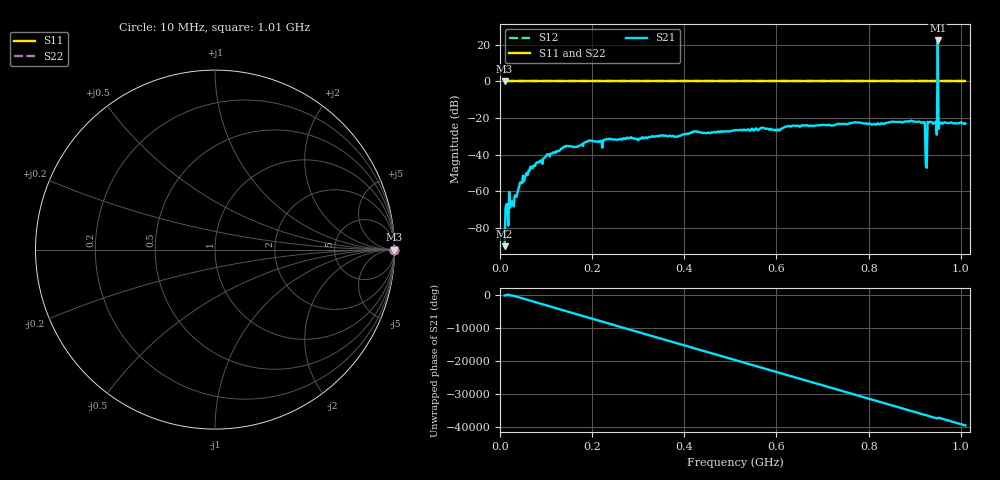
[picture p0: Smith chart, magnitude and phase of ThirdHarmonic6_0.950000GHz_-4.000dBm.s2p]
! 8/16/2025 6:50:54 AM
! C:\ANRITSUVNA\TEMP\TEMP.S2P
! CHANNEL.1
! TR.MEASUREMENT
! RAW.DATA
! RF.CORRECTION.OFF
! AVERAGING.OFF
! IF.BANDWIDTH: 5KHZ
! SWEEPTYPE:  FREQ.SWEEP(Linear)
! Reference Plane Port Info
! PORT:  PORT1  PORT2
! DISTANCE:  0  m  0  m
! TIME:  0  s  0  s
! PHASE.OFFSET:  0  deg.  0  deg.
! LOSS:  0  dB  0  dB
! REF.LOSS:  0  dB  0  dB
! REF.FREQ:  0  Hz  0  Hz
! Power Info
! POWER:  -20  dBm  -20  dBm
! EFF.POWER:  -20  dBm  -20  dBm
! SOURCE.ATTEN:  0  dB  0  dB
! TEST.ATTEN:  0  dB  0  dB
# GHZ S RI R 50.0
! FREQ.GHZ  S11RE  S11IM  S21RE  S21IM  S12RE  S12IM  S22RE  S22IM
!; PortSelection: Port_12
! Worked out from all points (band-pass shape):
!   501 points, 10 MHz to 1.01 GHz, reference 50 ohm
!   highest |S21| = 22.38 dB at 950 MHz (marker M1); lowest = -89.8 dB at 10 MHz (marker M2)
!   |S21| within 3 dB of the highest: 949.8833 MHz to 950.1243 MHz (240.9 kHz wide, 0.0254 % of centre)
!   lowest |S11| = 0.0 dB at 10 MHz (marker M3)
!   |S11| at or under -10 dB: nowhere
!   |S22| runs from 0.0 to 0.0 dB; largest |S21 - S12| = 13
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0.01  1 0  -3.17e-05 -5.7e-06  1 0  1 0
0.016  1 0  0.000199 -0.000405  1 0  1 0
0.024  1 0  -0.000256 -0.000421  1 0  1 0
0.026  1 0  -0.000389 -0.000382  1 0  1 0
0.046  1 0  -0.00161 0.00077  1 0  1 0
0.07  1 0  -0.00133 -0.00404  1 0  1 0
0.14  1 0  0.00468 -0.0161  1 0  1 0
0.178  1 0  -0.0191 -0.0052  1 0  1 0
0.344  1 0  0.0315 -0.00424  1 0  1 0
0.51  1 0  -0.0451 0.011  1 0  1 0
0.678  1 0  -0.0231 -0.0562  1 0  1 0
0.844  1 0  0.0494 0.059  1 0  1 0
0.918  1 0  0.0422 -0.0631  1 0  1 0
0.922  1 0  -0.0611 0.0471  1 0  1 0
0.928  1 0  -0.013 -0.0783  1 0  1 0
0.932  1 0  -0.0138 0.0779  1 0  1 0
0.944  1 0  0.0712 -0.0274  1 0  1 0
0.946  1 0  -0.0163 -0.078  1 0  1 0
0.95  1 0  2.753 -12.85  1 0  1 0
0.954  1 0  0.0273 -0.0667  1 0  1 0
0.956  1 0  -0.0632 -0.0412  1 0  1 0
1.01  1 0  -0.0673 -0.0214  1 0  1 0
